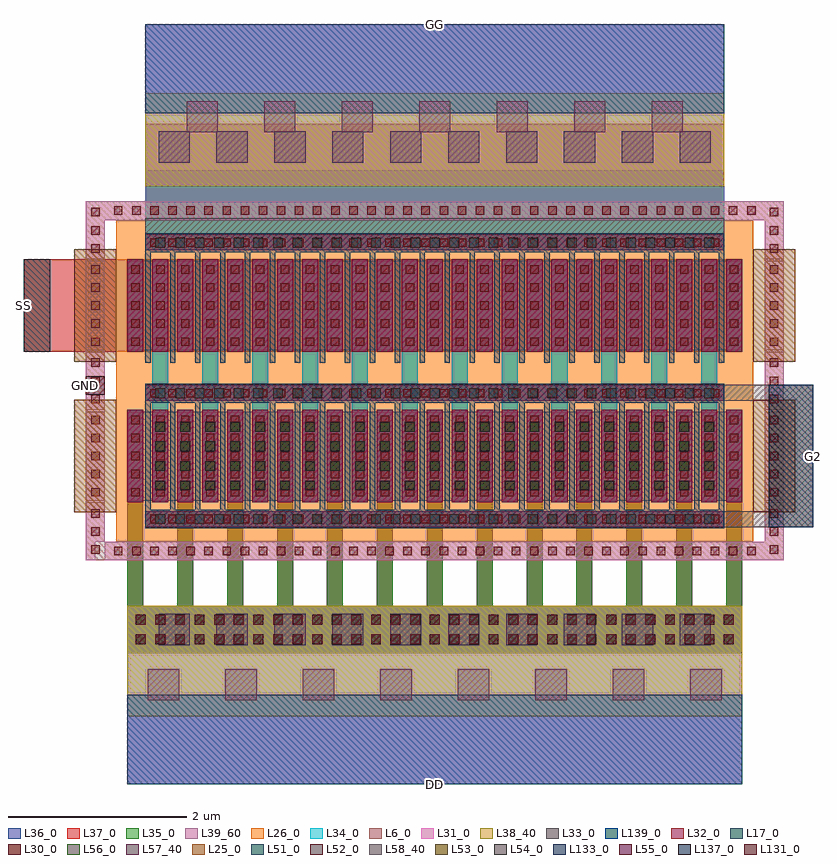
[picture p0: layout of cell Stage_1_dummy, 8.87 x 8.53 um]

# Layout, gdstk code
import gdstk
lib = gdstk.Library(unit=1e-6, precision=1e-09)
def R(c, l, rs):  # rectangles x0, y0, x1, y1
    for r in rs: c.add(gdstk.rectangle(r[:2], r[2:], *l))
def A(c, l, x, y, w, h, nx, ny, dx, dy):  # array of equal rectangles
    R(c, l, [(x+i*dx, y+j*dy, x+i*dx+w, y+j*dy+h) for i in range(nx) for j in range(ny)])
def P(c, l, *ps):  # polygons
    for p in ps: c.add(gdstk.Polygon(p, *l))
L6_0 = (6, 0)
L17_0 = (17, 0)
L25_0 = (25, 0)
L26_0 = (26, 0)
L30_0 = (30, 0)
L31_0 = (31, 0)
L32_0 = (32, 0)
L33_0 = (33, 0)
L34_0 = (34, 0)
L35_0 = (35, 0)
L36_0 = (36, 0)
L37_0 = (37, 0)
L38_40 = (38, 40)
L39_60 = (39, 60)
L51_0 = (51, 0)
L52_0 = (52, 0)
L53_0 = (53, 0)
L54_0 = (54, 0)
L55_0 = (55, 0)
L56_0 = (56, 0)
L57_40 = (57, 40)
L58_40 = (58, 40)
L131_0 = (131, 0)
L133_0 = (133, 0)
L137_0 = (137, 0)
L139_0 = (139, 0)

stage_1_dummy = lib.new_cell('Stage_1_dummy')
R(stage_1_dummy, L6_0, [(-0.47,-1.69,-0.26,-0.69), (0,-1.69,6.89,-0.69), (7.15,-1.69,7.36,-0.69), (-0.47,-0.67,-0.26,-0.02), (7.15,-0.67,7.36,-0.02), (-0.47,0,-0.26,1), (0,0,6.89,1), (7.15,0,7.36,1)])
P(stage_1_dummy, L6_0, [(-0.26,-1.71),(-0.47,-1.71),(-0.47,-2.36),(7.36,-2.36),(7.36,-2.36),(7.36,-1.71),(7.15,-1.71),(7.15,-2.15),(-0.26,-2.15)],
  [(-0.47,1.02),(-0.26,1.02),(-0.26,1.46),(7.15,1.46),(7.15,1.02),(7.36,1.02),(7.36,1.67),(7.36,1.67),(-0.47,1.67)])
A(stage_1_dummy, L17_0, 0.195, -1.79, 0.06, 1.2, 24, 1, 0.28, 0)
A(stage_1_dummy, L17_0, 0.195, -0.14, 0.06, 1.24, 24, 1, 0.28, 0)
R(stage_1_dummy, L17_0, [(0.195,-2,6.695,-1.79), (0.195,-0.59,6.695,-0.38), (0.195,1.1,6.695,1.31)])
R(stage_1_dummy, L25_0, [(-0.6,-1.82,-0.13,-0.56), (7.02,-1.82,7.49,-0.56), (-0.6,-0.13,-0.13,1.13), (7.02,-0.13,7.49,1.13)])
R(stage_1_dummy, L26_0, [(-0.13,-2.15,7.02,1.46)])
A(stage_1_dummy, L30_0, -0.155, -2.302, 0.095, 0.095, 36, 1, 0.203, 0)
A(stage_1_dummy, L30_0, -0.412, -2.285, 0.095, 0.095, 1, 3, 0, 0.203)
A(stage_1_dummy, L30_0, 7.207, -2.285, 0.095, 0.095, 1, 3, 0, 0.203)
A(stage_1_dummy, L30_0, 0.251, -1.942, 0.095, 0.094, 32, 2, 0.203, 3.1)
A(stage_1_dummy, L30_0, -0.412, -1.643, 0.095, 0.095, 1, 5, 0, 0.203)
A(stage_1_dummy, L30_0, 0.037, -1.643, 0.095, 0.095, 1, 5, 0, 0.203)
A(stage_1_dummy, L30_0, 0.317, -1.643, 0.095, 0.095, 1, 5, 0, 0.203)
A(stage_1_dummy, L30_0, 0.598, -1.643, 0.094, 0.095, 6, 5, 0.28, 0.203)
A(stage_1_dummy, L30_0, 2.277, -1.643, 0.096, 0.095, 1, 5, 0, 0.203)
A(stage_1_dummy, L30_0, 2.558, -1.643, 0.094, 0.095, 1, 5, 0, 0.203)
A(stage_1_dummy, L30_0, 2.838, -1.643, 0.094, 0.095, 1, 5, 0, 0.203)
A(stage_1_dummy, L30_0, 3.117, -1.643, 0.095, 0.095, 1, 5, 0, 0.203)
A(stage_1_dummy, L30_0, 3.397, -1.643, 0.095, 0.095, 1, 5, 0, 0.203)
A(stage_1_dummy, L30_0, 3.678, -1.643, 0.094, 0.095, 5, 5, 0.28, 0.203)
A(stage_1_dummy, L30_0, 5.078, -1.643, 0.095, 0.095, 1, 5, 0, 0.203)
A(stage_1_dummy, L30_0, 5.358, -1.643, 0.094, 0.095, 5, 5, 0.28, 0.203)
A(stage_1_dummy, L30_0, 6.757, -1.643, 0.095, 0.095, 1, 5, 0, 0.203)
A(stage_1_dummy, L30_0, 7.207, -1.643, 0.095, 0.095, 1, 5, 0, 0.203)
A(stage_1_dummy, L30_0, -0.412, -0.595, 0.095, 0.095, 1, 3, 0, 0.203)
A(stage_1_dummy, L30_0, 7.207, -0.595, 0.095, 0.095, 1, 3, 0, 0.203)
A(stage_1_dummy, L30_0, 0.251, -0.532, 0.095, 0.095, 32, 1, 0.203, 0)
A(stage_1_dummy, L30_0, -0.412, 0.046, 0.095, 0.095, 1, 5, 0, 0.203)
A(stage_1_dummy, L30_0, 0.037, 0.046, 0.095, 0.095, 1, 5, 0, 0.203)
A(stage_1_dummy, L30_0, 0.317, 0.046, 0.095, 0.095, 1, 5, 0, 0.203)
A(stage_1_dummy, L30_0, 0.598, 0.046, 0.094, 0.095, 6, 5, 0.28, 0.203)
A(stage_1_dummy, L30_0, 2.277, 0.046, 0.096, 0.095, 1, 5, 0, 0.203)
A(stage_1_dummy, L30_0, 2.558, 0.046, 0.094, 0.095, 1, 5, 0, 0.203)
A(stage_1_dummy, L30_0, 2.838, 0.046, 0.094, 0.095, 1, 5, 0, 0.203)
A(stage_1_dummy, L30_0, 3.117, 0.046, 0.095, 0.095, 1, 5, 0, 0.203)
A(stage_1_dummy, L30_0, 3.397, 0.046, 0.095, 0.095, 1, 5, 0, 0.203)
A(stage_1_dummy, L30_0, 3.678, 0.046, 0.094, 0.095, 5, 5, 0.28, 0.203)
A(stage_1_dummy, L30_0, 5.078, 0.046, 0.095, 0.095, 1, 5, 0, 0.203)
A(stage_1_dummy, L30_0, 5.358, 0.046, 0.094, 0.095, 5, 5, 0.28, 0.203)
A(stage_1_dummy, L30_0, 6.757, 0.046, 0.095, 0.095, 1, 5, 0, 0.203)
A(stage_1_dummy, L30_0, 7.207, 0.046, 0.095, 0.095, 1, 5, 0, 0.203)
A(stage_1_dummy, L30_0, -0.412, 1.094, 0.095, 0.095, 1, 3, 0, 0.203)
A(stage_1_dummy, L30_0, 7.207, 1.094, 0.095, 0.095, 1, 3, 0, 0.203)
A(stage_1_dummy, L30_0, -0.155, 1.518, 0.095, 0.094, 36, 1, 0.203, 0)
A(stage_1_dummy, L31_0, -0.005, -1.71, 0.18, 1.04, 25, 2, 0.28, 1.69)
R(stage_1_dummy, L31_0, [(0.195,-1.99,6.695,-1.81), (0.195,-0.57,6.695,-0.39), (0.195,1.12,6.695,1.3)])
P(stage_1_dummy, L31_0, [(-0.365,-2.15),(-0.365,-2.36),(7.36,-2.36),(7.36,-2.36),(7.36,1.67),(7.36,1.67),(-0.47,1.67),(-0.47,-2.36),(-0.26,-2.36),(-0.26,1.46),(7.15,1.46),(7.15,-2.15)])
A(stage_1_dummy, L32_0, -0.005, -1.71, 0.18, 1.04, 25, 2, 0.28, 1.69)
R(stage_1_dummy, L32_0, [(0.195,-1.99,6.695,-1.81), (0.195,-0.57,6.695,-0.39), (0.195,1.12,6.695,1.3)])
A(stage_1_dummy, L33_0, -0.005, -1.71, 0.18, 1.04, 25, 2, 0.28, 1.69)
R(stage_1_dummy, L33_0, [(0.195,-1.99,6.695,-1.81), (6.695,-1.99,7.195,-1.81), (7.195,-1.99,7.695,-0.39), (0.195,-0.57,6.695,-0.39), (6.695,-0.57,7.195,-0.39), (0.195,1.12,6.695,1.3), (0.195,1.3,6.695,1.48)])
A(stage_1_dummy, L34_0, -0.005, -1.71, 0.18, 1.04, 25, 2, 0.28, 1.69)
R(stage_1_dummy, L34_0, [(0.275,-0.67,0.455,-0.02), (0.275,-0.67,0.455,-0.02), (0.275,-0.67,0.455,-0.02), (0.275,-0.67,0.455,-0.02), (0.275,-0.67,0.455,-0.02), (0.835,-0.67,1.015,-0.02), (0.835,-0.67,1.015,-0.02), (0.835,-0.67,1.015,-0.02), (0.835,-0.67,1.015,-0.02), (0.835,-0.67,1.015,-0.02), (1.395,-0.67,1.575,-0.02), (1.395,-0.67,1.575,-0.02), (1.395,-0.67,1.575,-0.02), (1.395,-0.67,1.575,-0.02), (1.395,-0.67,1.575,-0.02), (1.955,-0.67,2.135,-0.02), (1.955,-0.67,2.135,-0.02), (1.955,-0.67,2.135,-0.02), (1.955,-0.67,2.135,-0.02), (1.955,-0.67,2.135,-0.02), (2.515,-0.67,2.695,-0.02), (2.515,-0.67,2.695,-0.02), (2.515,-0.67,2.695,-0.02), (2.515,-0.67,2.695,-0.02), (2.515,-0.67,2.695,-0.02), (3.075,-0.67,3.255,-0.02), (3.075,-0.67,3.255,-0.02), (3.075,-0.67,3.255,-0.02), (3.075,-0.67,3.255,-0.02), (3.075,-0.67,3.255,-0.02), (3.635,-0.67,3.815,-0.02), (3.635,-0.67,3.815,-0.02), (3.635,-0.67,3.815,-0.02), (3.635,-0.67,3.815,-0.02), (3.635,-0.67,3.815,-0.02), (4.195,-0.67,4.375,-0.02), (4.195,-0.67,4.375,-0.02), (4.195,-0.67,4.375,-0.02), (4.195,-0.67,4.375,-0.02), (4.195,-0.67,4.375,-0.02), (4.755,-0.67,4.935,-0.02), (4.755,-0.67,4.935,-0.02), (4.755,-0.67,4.935,-0.02), (4.755,-0.67,4.935,-0.02), (4.755,-0.67,4.935,-0.02), (5.315,-0.67,5.495,-0.02), (5.315,-0.67,5.495,-0.02), (5.315,-0.67,5.495,-0.02), (5.315,-0.67,5.495,-0.02), (5.315,-0.67,5.495,-0.02), (5.875,-0.67,6.055,-0.02), (5.875,-0.67,6.055,-0.02), (5.875,-0.67,6.055,-0.02), (5.875,-0.67,6.055,-0.02), (5.875,-0.67,6.055,-0.02), (6.435,-0.67,6.615,-0.02), (6.435,-0.67,6.615,-0.02), (6.435,-0.67,6.615,-0.02), (6.435,-0.67,6.615,-0.02), (6.435,-0.67,6.615,-0.02), (0.195,1.3,6.695,1.66)])
A(stage_1_dummy, L35_0, -0.005, -1.71, 0.18, 1.04, 25, 2, 0.28, 1.69)
R(stage_1_dummy, L35_0, [(-0.005,-3.4,6.895,-2.87), (-0.005,-2.87,0.175,-1.71), (-0.005,-2.87,0.175,-1.71), (-0.005,-2.87,0.175,-1.71), (-0.005,-2.87,0.175,-1.71), (0.555,-2.87,0.735,-1.71), (0.555,-2.87,0.735,-1.71), (0.555,-2.87,0.735,-1.71), (0.555,-2.87,0.735,-1.71), (0.555,-2.87,0.735,-1.71), (1.115,-2.87,1.295,-1.71), (1.115,-2.87,1.295,-1.71), (1.115,-2.87,1.295,-1.71), (1.115,-2.87,1.295,-1.71), (1.115,-2.87,1.295,-1.71), (1.675,-2.87,1.855,-1.71), (1.675,-2.87,1.855,-1.71), (1.675,-2.87,1.855,-1.71), (1.675,-2.87,1.855,-1.71), (1.675,-2.87,1.855,-1.71), (2.235,-2.87,2.415,-1.71), (2.235,-2.87,2.415,-1.71), (2.235,-2.87,2.415,-1.71), (2.235,-2.87,2.415,-1.71), (2.235,-2.87,2.415,-1.71), (2.795,-2.87,2.975,-1.71), (2.795,-2.87,2.975,-1.71), (2.795,-2.87,2.975,-1.71), (2.795,-2.87,2.975,-1.71), (2.795,-2.87,2.975,-1.71), (3.355,-2.87,3.535,-1.71), (3.355,-2.87,3.535,-1.71), (3.355,-2.87,3.535,-1.71), (3.355,-2.87,3.535,-1.71), (3.355,-2.87,3.535,-1.71), (3.915,-2.87,4.095,-1.71), (3.915,-2.87,4.095,-1.71), (3.915,-2.87,4.095,-1.71), (3.915,-2.87,4.095,-1.71), (3.915,-2.87,4.095,-1.71), (4.475,-2.87,4.655,-1.71), (4.475,-2.87,4.655,-1.71), (4.475,-2.87,4.655,-1.71), (4.475,-2.87,4.655,-1.71), (4.475,-2.87,4.655,-1.71), (5.035,-2.87,5.215,-1.71), (5.035,-2.87,5.215,-1.71), (5.035,-2.87,5.215,-1.71), (5.035,-2.87,5.215,-1.71), (5.035,-2.87,5.215,-1.71), (5.595,-2.87,5.775,-1.71), (5.595,-2.87,5.775,-1.71), (5.595,-2.87,5.775,-1.71), (5.595,-2.87,5.775,-1.71), (5.595,-2.87,5.775,-1.71), (6.155,-2.87,6.335,-1.71), (6.155,-2.87,6.335,-1.71), (6.155,-2.87,6.335,-1.71), (6.155,-2.87,6.335,-1.71), (6.155,-2.87,6.335,-1.71), (6.715,-2.87,6.895,-1.71), (6.715,-2.87,6.895,-1.71), (6.715,-2.87,6.895,-1.71), (6.715,-2.87,6.895,-1.71), (6.715,-2.87,6.895,-1.71), (-0.005,-2.36,0.175,-1.71), (6.715,-1.71,6.895,-0.67), (6.715,-1.71,6.895,-0.67), (6.715,-1.71,6.895,-0.67), (6.715,-1.71,6.895,-0.67), (6.715,-1.71,6.895,-0.67), (0.275,-0.67,0.455,-0.02), (0.275,-0.67,0.455,-0.02), (0.275,-0.67,0.455,-0.02), (0.275,-0.67,0.455,-0.02), (0.275,-0.67,0.455,-0.02), (0.835,-0.67,1.015,-0.02), (0.835,-0.67,1.015,-0.02), (0.835,-0.67,1.015,-0.02), (0.835,-0.67,1.015,-0.02), (0.835,-0.67,1.015,-0.02), (1.395,-0.67,1.575,-0.02), (1.395,-0.67,1.575,-0.02), (1.395,-0.67,1.575,-0.02), (1.395,-0.67,1.575,-0.02), (1.395,-0.67,1.575,-0.02), (1.955,-0.67,2.135,-0.02), (1.955,-0.67,2.135,-0.02), (1.955,-0.67,2.135,-0.02), (1.955,-0.67,2.135,-0.02), (1.955,-0.67,2.135,-0.02), (2.515,-0.67,2.695,-0.02), (2.515,-0.67,2.695,-0.02), (2.515,-0.67,2.695,-0.02), (2.515,-0.67,2.695,-0.02), (2.515,-0.67,2.695,-0.02), (3.075,-0.67,3.255,-0.02), (3.075,-0.67,3.255,-0.02), (3.075,-0.67,3.255,-0.02), (3.075,-0.67,3.255,-0.02), (3.075,-0.67,3.255,-0.02), (3.635,-0.67,3.815,-0.02), (3.635,-0.67,3.815,-0.02), (3.635,-0.67,3.815,-0.02), (3.635,-0.67,3.815,-0.02), (3.635,-0.67,3.815,-0.02), (4.195,-0.67,4.375,-0.02), (4.195,-0.67,4.375,-0.02), (4.195,-0.67,4.375,-0.02), (4.195,-0.67,4.375,-0.02), (4.195,-0.67,4.375,-0.02), (4.755,-0.67,4.935,-0.02), (4.755,-0.67,4.935,-0.02), (4.755,-0.67,4.935,-0.02), (4.755,-0.67,4.935,-0.02), (4.755,-0.67,4.935,-0.02), (5.315,-0.67,5.495,-0.02), (5.315,-0.67,5.495,-0.02), (5.315,-0.67,5.495,-0.02), (5.315,-0.67,5.495,-0.02), (5.315,-0.67,5.495,-0.02), (5.875,-0.67,6.055,-0.02), (5.875,-0.67,6.055,-0.02), (5.875,-0.67,6.055,-0.02), (5.875,-0.67,6.055,-0.02), (5.875,-0.67,6.055,-0.02), (6.435,-0.67,6.615,-0.02), (6.435,-0.67,6.615,-0.02), (6.435,-0.67,6.615,-0.02), (6.435,-0.67,6.615,-0.02), (6.435,-0.67,6.615,-0.02), (0.195,1.48,6.695,1.84)])
R(stage_1_dummy, L36_0, [(-0.005,-3.4,6.895,-2.87), (-0.005,-2.87,0.175,-1.71), (-0.005,-2.87,0.175,-1.71), (-0.005,-2.87,0.175,-1.71), (-0.005,-2.87,0.175,-1.71), (0.555,-2.87,0.735,-1.71), (0.555,-2.87,0.735,-1.71), (0.555,-2.87,0.735,-1.71), (0.555,-2.87,0.735,-1.71), (0.555,-2.87,0.735,-1.71), (1.115,-2.87,1.295,-1.71), (1.115,-2.87,1.295,-1.71), (1.115,-2.87,1.295,-1.71), (1.115,-2.87,1.295,-1.71), (1.115,-2.87,1.295,-1.71), (1.675,-2.87,1.855,-1.71), (1.675,-2.87,1.855,-1.71), (1.675,-2.87,1.855,-1.71), (1.675,-2.87,1.855,-1.71), (1.675,-2.87,1.855,-1.71), (2.235,-2.87,2.415,-1.71), (2.235,-2.87,2.415,-1.71), (2.235,-2.87,2.415,-1.71), (2.235,-2.87,2.415,-1.71), (2.235,-2.87,2.415,-1.71), (2.795,-2.87,2.975,-1.71), (2.795,-2.87,2.975,-1.71), (2.795,-2.87,2.975,-1.71), (2.795,-2.87,2.975,-1.71), (2.795,-2.87,2.975,-1.71), (3.355,-2.87,3.535,-1.71), (3.355,-2.87,3.535,-1.71), (3.355,-2.87,3.535,-1.71), (3.355,-2.87,3.535,-1.71), (3.355,-2.87,3.535,-1.71), (3.915,-2.87,4.095,-1.71), (3.915,-2.87,4.095,-1.71), (3.915,-2.87,4.095,-1.71), (3.915,-2.87,4.095,-1.71), (3.915,-2.87,4.095,-1.71), (4.475,-2.87,4.655,-1.71), (4.475,-2.87,4.655,-1.71), (4.475,-2.87,4.655,-1.71), (4.475,-2.87,4.655,-1.71), (4.475,-2.87,4.655,-1.71), (5.035,-2.87,5.215,-1.71), (5.035,-2.87,5.215,-1.71), (5.035,-2.87,5.215,-1.71), (5.035,-2.87,5.215,-1.71), (5.035,-2.87,5.215,-1.71), (5.595,-2.87,5.775,-1.71), (5.595,-2.87,5.775,-1.71), (5.595,-2.87,5.775,-1.71), (5.595,-2.87,5.775,-1.71), (5.595,-2.87,5.775,-1.71), (6.155,-2.87,6.335,-1.71), (6.155,-2.87,6.335,-1.71), (6.155,-2.87,6.335,-1.71), (6.155,-2.87,6.335,-1.71), (6.155,-2.87,6.335,-1.71), (6.715,-2.87,6.895,-1.71), (6.715,-2.87,6.895,-1.71), (6.715,-2.87,6.895,-1.71), (6.715,-2.87,6.895,-1.71), (6.715,-2.87,6.895,-1.71), (-0.005,-2.36,0.175,-1.71), (-0.005,-1.71,0.175,-0.67), (-0.005,-1.71,0.175,-0.67), (-0.005,-1.71,0.175,-0.67), (-0.005,-1.71,0.175,-0.67), (-0.005,-1.71,0.175,-0.67), (0.555,-1.71,0.735,-0.67), (0.555,-1.71,0.735,-0.67), (0.555,-1.71,0.735,-0.67), (0.555,-1.71,0.735,-0.67), (0.555,-1.71,0.735,-0.67), (1.115,-1.71,1.295,-0.67), (1.115,-1.71,1.295,-0.67), (1.115,-1.71,1.295,-0.67), (1.115,-1.71,1.295,-0.67), (1.115,-1.71,1.295,-0.67), (1.675,-1.71,1.855,-0.67), (1.675,-1.71,1.855,-0.67), (1.675,-1.71,1.855,-0.67), (1.675,-1.71,1.855,-0.67), (1.675,-1.71,1.855,-0.67), (2.235,-1.71,2.415,-0.67), (2.235,-1.71,2.415,-0.67), (2.235,-1.71,2.415,-0.67), (2.235,-1.71,2.415,-0.67), (2.235,-1.71,2.415,-0.67), (2.795,-1.71,2.975,-0.67), (2.795,-1.71,2.975,-0.67), (2.795,-1.71,2.975,-0.67), (2.795,-1.71,2.975,-0.67), (2.795,-1.71,2.975,-0.67), (3.355,-1.71,3.535,-0.67), (3.355,-1.71,3.535,-0.67), (3.355,-1.71,3.535,-0.67), (3.355,-1.71,3.535,-0.67), (3.355,-1.71,3.535,-0.67), (3.915,-1.71,4.095,-0.67), (3.915,-1.71,4.095,-0.67), (3.915,-1.71,4.095,-0.67), (3.915,-1.71,4.095,-0.67), (3.915,-1.71,4.095,-0.67), (4.475,-1.71,4.655,-0.67), (4.475,-1.71,4.655,-0.67), (4.475,-1.71,4.655,-0.67), (4.475,-1.71,4.655,-0.67), (4.475,-1.71,4.655,-0.67), (5.035,-1.71,5.215,-0.67), (5.035,-1.71,5.215,-0.67), (5.035,-1.71,5.215,-0.67), (5.035,-1.71,5.215,-0.67), (5.035,-1.71,5.215,-0.67), (5.595,-1.71,5.775,-0.67), (5.595,-1.71,5.775,-0.67), (5.595,-1.71,5.775,-0.67), (5.595,-1.71,5.775,-0.67), (5.595,-1.71,5.775,-0.67), (6.155,-1.71,6.335,-0.67), (6.155,-1.71,6.335,-0.67), (6.155,-1.71,6.335,-0.67), (6.155,-1.71,6.335,-0.67), (6.155,-1.71,6.335,-0.67), (6.715,-1.71,6.895,-0.67), (6.715,-1.71,6.895,-0.67), (6.715,-1.71,6.895,-0.67), (6.715,-1.71,6.895,-0.67), (6.715,-1.71,6.895,-0.67), (-0.005,-0.02,0.175,1.02), (0.555,-0.02,0.735,1.02), (0.555,-0.02,0.735,1.02), (0.555,-0.02,0.735,1.02), (0.555,-0.02,0.735,1.02), (0.555,-0.02,0.735,1.02), (1.115,-0.02,1.295,1.02), (1.115,-0.02,1.295,1.02), (1.115,-0.02,1.295,1.02), (1.115,-0.02,1.295,1.02), (1.115,-0.02,1.295,1.02), (1.675,-0.02,1.855,1.02), (1.675,-0.02,1.855,1.02), (1.675,-0.02,1.855,1.02), (1.675,-0.02,1.855,1.02), (1.675,-0.02,1.855,1.02), (2.235,-0.02,2.415,1.02), (2.235,-0.02,2.415,1.02), (2.235,-0.02,2.415,1.02), (2.235,-0.02,2.415,1.02), (2.235,-0.02,2.415,1.02), (2.795,-0.02,2.975,1.02), (2.795,-0.02,2.975,1.02), (2.795,-0.02,2.975,1.02), (2.795,-0.02,2.975,1.02), (2.795,-0.02,2.975,1.02), (3.355,-0.02,3.535,1.02), (3.355,-0.02,3.535,1.02), (3.355,-0.02,3.535,1.02), (3.355,-0.02,3.535,1.02), (3.355,-0.02,3.535,1.02), (3.915,-0.02,4.095,1.02), (3.915,-0.02,4.095,1.02), (3.915,-0.02,4.095,1.02), (3.915,-0.02,4.095,1.02), (3.915,-0.02,4.095,1.02), (4.475,-0.02,4.655,1.02), (4.475,-0.02,4.655,1.02), (4.475,-0.02,4.655,1.02), (4.475,-0.02,4.655,1.02), (4.475,-0.02,4.655,1.02), (5.035,-0.02,5.215,1.02), (5.035,-0.02,5.215,1.02), (5.035,-0.02,5.215,1.02), (5.035,-0.02,5.215,1.02), (5.035,-0.02,5.215,1.02), (5.595,-0.02,5.775,1.02), (5.595,-0.02,5.775,1.02), (5.595,-0.02,5.775,1.02), (5.595,-0.02,5.775,1.02), (5.595,-0.02,5.775,1.02), (6.155,-0.02,6.335,1.02), (6.155,-0.02,6.335,1.02), (6.155,-0.02,6.335,1.02), (6.155,-0.02,6.335,1.02), (6.155,-0.02,6.335,1.02), (6.715,-0.02,6.895,1.02), (0.195,1.66,6.695,2.02)])
R(stage_1_dummy, L37_0, [(-0.005,-3.4,6.895,-2.87), (-0.005,-2.87,0.175,-1.71), (-0.005,-2.87,0.175,-1.71), (-0.005,-2.87,0.175,-1.71), (-0.005,-2.87,0.175,-1.71), (0.555,-2.87,0.735,-1.71), (0.555,-2.87,0.735,-1.71), (0.555,-2.87,0.735,-1.71), (0.555,-2.87,0.735,-1.71), (0.555,-2.87,0.735,-1.71), (1.115,-2.87,1.295,-1.71), (1.115,-2.87,1.295,-1.71), (1.115,-2.87,1.295,-1.71), (1.115,-2.87,1.295,-1.71), (1.115,-2.87,1.295,-1.71), (1.675,-2.87,1.855,-1.71), (1.675,-2.87,1.855,-1.71), (1.675,-2.87,1.855,-1.71), (1.675,-2.87,1.855,-1.71), (1.675,-2.87,1.855,-1.71), (2.235,-2.87,2.415,-1.71), (2.235,-2.87,2.415,-1.71), (2.235,-2.87,2.415,-1.71), (2.235,-2.87,2.415,-1.71), (2.235,-2.87,2.415,-1.71), (2.795,-2.87,2.975,-1.71), (2.795,-2.87,2.975,-1.71), (2.795,-2.87,2.975,-1.71), (2.795,-2.87,2.975,-1.71), (2.795,-2.87,2.975,-1.71), (3.355,-2.87,3.535,-1.71), (3.355,-2.87,3.535,-1.71), (3.355,-2.87,3.535,-1.71), (3.355,-2.87,3.535,-1.71), (3.355,-2.87,3.535,-1.71), (3.915,-2.87,4.095,-1.71), (3.915,-2.87,4.095,-1.71), (3.915,-2.87,4.095,-1.71), (3.915,-2.87,4.095,-1.71), (3.915,-2.87,4.095,-1.71), (4.475,-2.87,4.655,-1.71), (4.475,-2.87,4.655,-1.71), (4.475,-2.87,4.655,-1.71), (4.475,-2.87,4.655,-1.71), (4.475,-2.87,4.655,-1.71), (5.035,-2.87,5.215,-1.71), (5.035,-2.87,5.215,-1.71), (5.035,-2.87,5.215,-1.71), (5.035,-2.87,5.215,-1.71), (5.035,-2.87,5.215,-1.71), (5.595,-2.87,5.775,-1.71), (5.595,-2.87,5.775,-1.71), (5.595,-2.87,5.775,-1.71), (5.595,-2.87,5.775,-1.71), (5.595,-2.87,5.775,-1.71), (6.155,-2.87,6.335,-1.71), (6.155,-2.87,6.335,-1.71), (6.155,-2.87,6.335,-1.71), (6.155,-2.87,6.335,-1.71), (6.155,-2.87,6.335,-1.71), (6.715,-2.87,6.895,-1.71), (6.715,-2.87,6.895,-1.71), (6.715,-2.87,6.895,-1.71), (6.715,-2.87,6.895,-1.71), (6.715,-2.87,6.895,-1.71), (-0.005,-2.36,0.175,-1.71), (-0.005,-1.71,0.175,-0.67), (-0.005,-1.71,0.175,-0.67), (-0.005,-1.71,0.175,-0.67), (-0.005,-1.71,0.175,-0.67), (-0.005,-1.71,0.175,-0.67), (0.555,-1.71,0.735,-0.67), (0.555,-1.71,0.735,-0.67), (0.555,-1.71,0.735,-0.67), (0.555,-1.71,0.735,-0.67), (0.555,-1.71,0.735,-0.67), (1.115,-1.71,1.295,-0.67), (1.115,-1.71,1.295,-0.67), (1.115,-1.71,1.295,-0.67), (1.115,-1.71,1.295,-0.67), (1.115,-1.71,1.295,-0.67), (1.675,-1.71,1.855,-0.67), (1.675,-1.71,1.855,-0.67), (1.675,-1.71,1.855,-0.67), (1.675,-1.71,1.855,-0.67), (1.675,-1.71,1.855,-0.67), (2.235,-1.71,2.415,-0.67), (2.235,-1.71,2.415,-0.67), (2.235,-1.71,2.415,-0.67), (2.235,-1.71,2.415,-0.67), (2.235,-1.71,2.415,-0.67), (2.795,-1.71,2.975,-0.67), (2.795,-1.71,2.975,-0.67), (2.795,-1.71,2.975,-0.67), (2.795,-1.71,2.975,-0.67), (2.795,-1.71,2.975,-0.67), (3.355,-1.71,3.535,-0.67), (3.355,-1.71,3.535,-0.67), (3.355,-1.71,3.535,-0.67), (3.355,-1.71,3.535,-0.67), (3.355,-1.71,3.535,-0.67), (3.915,-1.71,4.095,-0.67), (3.915,-1.71,4.095,-0.67), (3.915,-1.71,4.095,-0.67), (3.915,-1.71,4.095,-0.67), (3.915,-1.71,4.095,-0.67), (4.475,-1.71,4.655,-0.67), (4.475,-1.71,4.655,-0.67), (4.475,-1.71,4.655,-0.67), (4.475,-1.71,4.655,-0.67), (4.475,-1.71,4.655,-0.67), (5.035,-1.71,5.215,-0.67), (5.035,-1.71,5.215,-0.67), (5.035,-1.71,5.215,-0.67), (5.035,-1.71,5.215,-0.67), (5.035,-1.71,5.215,-0.67), (5.595,-1.71,5.775,-0.67), (5.595,-1.71,5.775,-0.67), (5.595,-1.71,5.775,-0.67), (5.595,-1.71,5.775,-0.67), (5.595,-1.71,5.775,-0.67), (6.155,-1.71,6.335,-0.67), (6.155,-1.71,6.335,-0.67), (6.155,-1.71,6.335,-0.67), (6.155,-1.71,6.335,-0.67), (6.155,-1.71,6.335,-0.67), (6.715,-1.71,6.895,-0.67), (6.715,-1.71,6.895,-0.67), (6.715,-1.71,6.895,-0.67), (6.715,-1.71,6.895,-0.67), (6.715,-1.71,6.895,-0.67), (-1.17,-0.02,6.895,1.02), (0.195,1.84,6.695,2.54)])
R(stage_1_dummy, L38_40, [(-0.005,-4.11,6.895,-2.87), (0.195,1.84,6.695,2.88)])
R(stage_1_dummy, L39_60, [(-0.005,-4.87,6.895,-2.87), (0.195,1.66,6.695,3.66)])
A(stage_1_dummy, L51_0, 0.31, -1.95, 0.11, 0.11, 29, 2, 0.22, 1.41)
A(stage_1_dummy, L51_0, 0.31, -1.575, 0.11, 0.11, 23, 4, 0.28, 0.22)
A(stage_1_dummy, L51_0, 0.31, 1.15, 0.11, 0.11, 29, 1, 0.22, 0)
A(stage_1_dummy, L52_0, 0.31, -1.95, 0.11, 0.11, 29, 2, 0.22, 1.41)
A(stage_1_dummy, L52_0, 0.31, -1.575, 0.11, 0.11, 23, 4, 0.28, 0.22)
A(stage_1_dummy, L52_0, 0.31, 1.15, 0.11, 0.11, 29, 1, 0.22, 0)
A(stage_1_dummy, L53_0, 0.31, -1.575, 0.11, 0.11, 23, 4, 0.28, 0.22)
A(stage_1_dummy, L54_0, 0.31, -1.575, 0.11, 0.11, 23, 4, 0.28, 0.22)
A(stage_1_dummy, L55_0, 0.09, -3.3, 0.11, 0.11, 31, 2, 0.22, 0.22)
A(stage_1_dummy, L56_0, 0.09, -3.3, 0.11, 0.11, 31, 2, 0.22, 0.22)
R(stage_1_dummy, L56_0, [(0.59,-1.575,0.7,-1.465), (0.59,-1.575,0.7,-1.465), (0.59,-1.575,0.7,-1.465), (0.59,-1.575,0.7,-1.465), (0.59,-1.575,0.7,-1.465), (1.15,-1.575,1.26,-1.465), (1.15,-1.575,1.26,-1.465), (1.15,-1.575,1.26,-1.465), (1.15,-1.575,1.26,-1.465), (1.15,-1.575,1.26,-1.465), (1.71,-1.575,1.82,-1.465), (1.71,-1.575,1.82,-1.465), (1.71,-1.575,1.82,-1.465), (1.71,-1.575,1.82,-1.465), (1.71,-1.575,1.82,-1.465), (2.27,-1.575,2.38,-1.465), (2.27,-1.575,2.38,-1.465), (2.27,-1.575,2.38,-1.465), (2.27,-1.575,2.38,-1.465), (2.27,-1.575,2.38,-1.465), (2.83,-1.575,2.94,-1.465), (2.83,-1.575,2.94,-1.465), (2.83,-1.575,2.94,-1.465), (2.83,-1.575,2.94,-1.465), (2.83,-1.575,2.94,-1.465), (3.39,-1.575,3.5,-1.465), (3.39,-1.575,3.5,-1.465), (3.39,-1.575,3.5,-1.465), (3.39,-1.575,3.5,-1.465), (3.39,-1.575,3.5,-1.465), (3.95,-1.575,4.06,-1.465), (3.95,-1.575,4.06,-1.465), (3.95,-1.575,4.06,-1.465), (3.95,-1.575,4.06,-1.465), (3.95,-1.575,4.06,-1.465), (4.51,-1.575,4.62,-1.465), (4.51,-1.575,4.62,-1.465), (4.51,-1.575,4.62,-1.465), (4.51,-1.575,4.62,-1.465), (4.51,-1.575,4.62,-1.465), (5.07,-1.575,5.18,-1.465), (5.07,-1.575,5.18,-1.465), (5.07,-1.575,5.18,-1.465), (5.07,-1.575,5.18,-1.465), (5.07,-1.575,5.18,-1.465), (5.63,-1.575,5.74,-1.465), (5.63,-1.575,5.74,-1.465), (5.63,-1.575,5.74,-1.465), (5.63,-1.575,5.74,-1.465), (5.63,-1.575,5.74,-1.465), (6.19,-1.575,6.3,-1.465), (6.19,-1.575,6.3,-1.465), (6.19,-1.575,6.3,-1.465), (6.19,-1.575,6.3,-1.465), (6.19,-1.575,6.3,-1.465), (0.59,-1.355,0.7,-1.245), (0.59,-1.355,0.7,-1.245), (0.59,-1.355,0.7,-1.245), (0.59,-1.355,0.7,-1.245), (0.59,-1.355,0.7,-1.245), (1.15,-1.355,1.26,-1.245), (1.15,-1.355,1.26,-1.245), (1.15,-1.355,1.26,-1.245), (1.15,-1.355,1.26,-1.245), (1.15,-1.355,1.26,-1.245), (1.71,-1.355,1.82,-1.245), (1.71,-1.355,1.82,-1.245), (1.71,-1.355,1.82,-1.245), (1.71,-1.355,1.82,-1.245), (1.71,-1.355,1.82,-1.245), (2.27,-1.355,2.38,-1.245), (2.27,-1.355,2.38,-1.245), (2.27,-1.355,2.38,-1.245), (2.27,-1.355,2.38,-1.245), (2.27,-1.355,2.38,-1.245), (2.83,-1.355,2.94,-1.245), (2.83,-1.355,2.94,-1.245), (2.83,-1.355,2.94,-1.245), (2.83,-1.355,2.94,-1.245), (2.83,-1.355,2.94,-1.245), (3.39,-1.355,3.5,-1.245), (3.39,-1.355,3.5,-1.245), (3.39,-1.355,3.5,-1.245), (3.39,-1.355,3.5,-1.245), (3.39,-1.355,3.5,-1.245), (3.95,-1.355,4.06,-1.245), (3.95,-1.355,4.06,-1.245), (3.95,-1.355,4.06,-1.245), (3.95,-1.355,4.06,-1.245), (3.95,-1.355,4.06,-1.245), (4.51,-1.355,4.62,-1.245), (4.51,-1.355,4.62,-1.245), (4.51,-1.355,4.62,-1.245), (4.51,-1.355,4.62,-1.245), (4.51,-1.355,4.62,-1.245), (5.07,-1.355,5.18,-1.245), (5.07,-1.355,5.18,-1.245), (5.07,-1.355,5.18,-1.245), (5.07,-1.355,5.18,-1.245), (5.07,-1.355,5.18,-1.245), (5.63,-1.355,5.74,-1.245), (5.63,-1.355,5.74,-1.245), (5.63,-1.355,5.74,-1.245), (5.63,-1.355,5.74,-1.245), (5.63,-1.355,5.74,-1.245), (6.19,-1.355,6.3,-1.245), (6.19,-1.355,6.3,-1.245), (6.19,-1.355,6.3,-1.245), (6.19,-1.355,6.3,-1.245), (6.19,-1.355,6.3,-1.245), (0.59,-1.135,0.7,-1.025), (0.59,-1.135,0.7,-1.025), (0.59,-1.135,0.7,-1.025), (0.59,-1.135,0.7,-1.025), (0.59,-1.135,0.7,-1.025), (1.15,-1.135,1.26,-1.025), (1.15,-1.135,1.26,-1.025), (1.15,-1.135,1.26,-1.025), (1.15,-1.135,1.26,-1.025), (1.15,-1.135,1.26,-1.025), (1.71,-1.135,1.82,-1.025), (1.71,-1.135,1.82,-1.025), (1.71,-1.135,1.82,-1.025), (1.71,-1.135,1.82,-1.025), (1.71,-1.135,1.82,-1.025), (2.27,-1.135,2.38,-1.025), (2.27,-1.135,2.38,-1.025), (2.27,-1.135,2.38,-1.025), (2.27,-1.135,2.38,-1.025), (2.27,-1.135,2.38,-1.025), (2.83,-1.135,2.94,-1.025), (2.83,-1.135,2.94,-1.025), (2.83,-1.135,2.94,-1.025), (2.83,-1.135,2.94,-1.025), (2.83,-1.135,2.94,-1.025), (3.39,-1.135,3.5,-1.025), (3.39,-1.135,3.5,-1.025), (3.39,-1.135,3.5,-1.025), (3.39,-1.135,3.5,-1.025), (3.39,-1.135,3.5,-1.025), (3.95,-1.135,4.06,-1.025), (3.95,-1.135,4.06,-1.025), (3.95,-1.135,4.06,-1.025), (3.95,-1.135,4.06,-1.025), (3.95,-1.135,4.06,-1.025), (4.51,-1.135,4.62,-1.025), (4.51,-1.135,4.62,-1.025), (4.51,-1.135,4.62,-1.025), (4.51,-1.135,4.62,-1.025), (4.51,-1.135,4.62,-1.025), (5.07,-1.135,5.18,-1.025), (5.07,-1.135,5.18,-1.025), (5.07,-1.135,5.18,-1.025), (5.07,-1.135,5.18,-1.025), (5.07,-1.135,5.18,-1.025), (5.63,-1.135,5.74,-1.025), (5.63,-1.135,5.74,-1.025), (5.63,-1.135,5.74,-1.025), (5.63,-1.135,5.74,-1.025), (5.63,-1.135,5.74,-1.025), (6.19,-1.135,6.3,-1.025), (6.19,-1.135,6.3,-1.025), (6.19,-1.135,6.3,-1.025), (6.19,-1.135,6.3,-1.025), (6.19,-1.135,6.3,-1.025), (0.59,-0.915,0.7,-0.805), (0.59,-0.915,0.7,-0.805), (0.59,-0.915,0.7,-0.805), (0.59,-0.915,0.7,-0.805), (0.59,-0.915,0.7,-0.805), (1.15,-0.915,1.26,-0.805), (1.15,-0.915,1.26,-0.805), (1.15,-0.915,1.26,-0.805), (1.15,-0.915,1.26,-0.805), (1.15,-0.915,1.26,-0.805), (1.71,-0.915,1.82,-0.805), (1.71,-0.915,1.82,-0.805), (1.71,-0.915,1.82,-0.805), (1.71,-0.915,1.82,-0.805), (1.71,-0.915,1.82,-0.805), (2.27,-0.915,2.38,-0.805), (2.27,-0.915,2.38,-0.805), (2.27,-0.915,2.38,-0.805), (2.27,-0.915,2.38,-0.805), (2.27,-0.915,2.38,-0.805), (2.83,-0.915,2.94,-0.805), (2.83,-0.915,2.94,-0.805), (2.83,-0.915,2.94,-0.805), (2.83,-0.915,2.94,-0.805), (2.83,-0.915,2.94,-0.805), (3.39,-0.915,3.5,-0.805), (3.39,-0.915,3.5,-0.805), (3.39,-0.915,3.5,-0.805), (3.39,-0.915,3.5,-0.805), (3.39,-0.915,3.5,-0.805), (3.95,-0.915,4.06,-0.805), (3.95,-0.915,4.06,-0.805), (3.95,-0.915,4.06,-0.805), (3.95,-0.915,4.06,-0.805), (3.95,-0.915,4.06,-0.805), (4.51,-0.915,4.62,-0.805), (4.51,-0.915,4.62,-0.805), (4.51,-0.915,4.62,-0.805), (4.51,-0.915,4.62,-0.805), (4.51,-0.915,4.62,-0.805), (5.07,-0.915,5.18,-0.805), (5.07,-0.915,5.18,-0.805), (5.07,-0.915,5.18,-0.805), (5.07,-0.915,5.18,-0.805), (5.07,-0.915,5.18,-0.805), (5.63,-0.915,5.74,-0.805), (5.63,-0.915,5.74,-0.805), (5.63,-0.915,5.74,-0.805), (5.63,-0.915,5.74,-0.805), (5.63,-0.915,5.74,-0.805), (6.19,-0.915,6.3,-0.805), (6.19,-0.915,6.3,-0.805), (6.19,-0.915,6.3,-0.805), (6.19,-0.915,6.3,-0.805), (6.19,-0.915,6.3,-0.805)])
A(stage_1_dummy, L57_40, 0.345, -3.31, 0.35, 0.35, 10, 2, 0.65, 5.415)
A(stage_1_dummy, L58_40, 0.225, -3.93, 0.35, 0.35, 8, 1, 0.87, 0)
A(stage_1_dummy, L58_40, 0.66, 2.445, 0.35, 0.35, 7, 1, 0.87, 0)
R(stage_1_dummy, L131_0, [(-0.47,-0.502,-0.26,-0.292)])
R(stage_1_dummy, L133_0, [(7.195,-1.99,7.695,-0.39)])
R(stage_1_dummy, L137_0, [(-1.17,-0.02,-0.87,1.02)])
R(stage_1_dummy, L139_0, [(-0.005,-4.87,6.895,-3.87), (0.195,2.66,6.695,3.66)])
stage_1_dummy.add(gdstk.Label('SS', (-1.17,0.5), layer=137, texttype=0))
stage_1_dummy.add(gdstk.Label('GG', (3.445,3.66), layer=139, texttype=0))
stage_1_dummy.add(gdstk.Label('DD', (3.445,-4.87), layer=139, texttype=0))
stage_1_dummy.add(gdstk.Label('G2', (7.695,-1.19), layer=133, texttype=0))
stage_1_dummy.add(gdstk.Label('GND', (-0.47,-0.397), layer=131, texttype=0))

lib.write_gds('Stage_1_dummy.gds')
